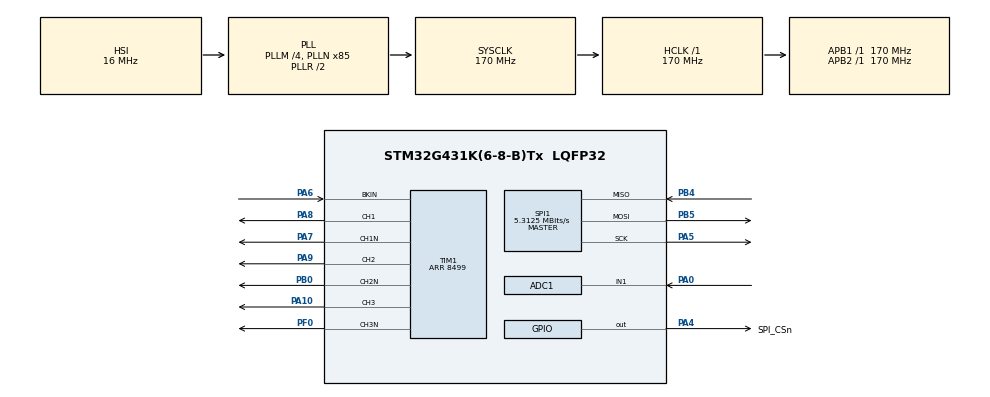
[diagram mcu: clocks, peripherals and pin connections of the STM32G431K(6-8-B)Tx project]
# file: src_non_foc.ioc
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ADC1.Channel-0\#ChannelRegularConversion=ADC_CHANNEL_1
ADC1.NbrOfConversionFlag=1
ADC1.OffsetNumber-0\#ChannelRegularConversion=ADC_OFFSET_NONE
ADC1.Rank-0\#ChannelRegularConversion=1
ADC1.SamplingTime-0\#ChannelRegularConversion=ADC_SAMPLETIME_2CYCLES_5
ADC1.master=1
Mcu.Family=STM32G4
Mcu.Name=STM32G431K(6-8-B)Tx
Mcu.Package=LQFP32
NUCLEO-G431KB.LD2=true
NUCLEO-G431KB.VCP=true
NVIC.PriorityGroup=NVIC_PRIORITYGROUP_4
PA0.Mode=IN1-Single-Ended
PA0.Signal=ADC1_IN1
PA10.Signal=S_TIM1_CH3
PA13.GPIO_Label=T_SWDIO
PA13.Signal=SYS_JTMS-SWDIO
PA14.GPIO_Label=T_SWCLK
PA14.Signal=SYS_JTCK-SWCLK
PA2.Signal=USART2_TX
PA3.Signal=USART2_RX
PA4.GPIO_Label=SPI_CSn
PA4.PinState=GPIO_PIN_SET
PA4.Signal=GPIO_Output
PA5.Mode=Full_Duplex_Master
PA5.Signal=SPI1_SCK
PA6.Mode=Activate-Break-Input
PA6.Signal=TIM1_BKIN
PA7.Mode=PWM Generation1 CH1 CH1N
PA7.Signal=TIM1_CH1N
PA8.Signal=S_TIM1_CH1
PA9.Signal=S_TIM1_CH2
PB0.Mode=PWM Generation2 CH2 CH2N
PB0.Signal=TIM1_CH2N
PB3.GPIO_Label=T_SWO
PB3.Signal=SYS_JTDO-SWO
PB4.Mode=Full_Duplex_Master
PB4.Signal=SPI1_MISO
PB5.Mode=Full_Duplex_Master
PB5.Signal=SPI1_MOSI
PF0-OSC_IN.Mode=PWM Generation3 CH3 CH3N
PF0-OSC_IN.Signal=TIM1_CH3N
ProjectManager.HeapSize=0x200
ProjectManager.StackSize=0x400
ProjectManager.TargetToolchain=STM32CubeIDE
RCC.ADC12Freq_Value=170000000
RCC.AHBFreq_Value=170000000
RCC.APB1Freq_Value=170000000
RCC.APB1TimFreq_Value=170000000
RCC.APB2Freq_Value=170000000
RCC.APB2TimFreq_Value=170000000
RCC.CortexFreq_Value=170000000
RCC.EXTERNAL_CLOCK_VALUE=12288000
RCC.HCLKFreq_Value=170000000
RCC.HSE_VALUE=8000000
RCC.HSI48_VALUE=48000000
RCC.HSI_VALUE=16000000
RCC.LSE_VALUE=32768
RCC.PLLM=RCC_PLLM_DIV4
RCC.PLLN=85
RCC.SYSCLKFreq_VALUE=170000000
RCC.SYSCLKSource=RCC_SYSCLKSOURCE_PLLCLK
RCC.USBFreq_Value=170000000
RCC.VCOOutputFreq_Value=340000000
SH.S_TIM1_CH1.0=TIM1_CH1,PWM Generation1 CH1 CH1N
SH.S_TIM1_CH2.0=TIM1_CH2,PWM Generation2 CH2 CH2N
SH.S_TIM1_CH3.0=TIM1_CH3,PWM Generation3 CH3 CH3N
SPI1.BaudRatePrescaler=SPI_BAUDRATEPRESCALER_32
SPI1.CLKPhase=SPI_PHASE_2EDGE
SPI1.CalculateBaudRate=5.3125 MBits/s
SPI1.DataSize=SPI_DATASIZE_16BIT
SPI1.Direction=SPI_DIRECTION_2LINES
SPI1.Mode=SPI_MODE_MASTER
SPI1.VirtualType=VM_MASTER
TIM1.AutomaticOutput=TIM_AUTOMATICOUTPUT_ENABLE
TIM1.Channel-PWM\ Generation1\ CH1\ CH1N=TIM_CHANNEL_1
TIM1.Channel-PWM\ Generation2\ CH2\ CH2N=TIM_CHANNEL_2
TIM1.Channel-PWM\ Generation3\ CH3\ CH3N=TIM_CHANNEL_3
TIM1.CounterMode=TIM_COUNTERMODE_CENTERALIGNED1
TIM1.DeadTime=100
TIM1.OffStateIDLEMode=TIM_OSSI_ENABLE
TIM1.OffStateRunMode=TIM_OSSR_ENABLE
TIM1.PeriodNoDither=8499
TIM1.RepetitionCounter=1
VP_NUCLEO-G431KB_VS_BSP_COMMON.Mode=COMMON
VP_SYS_VS_DBSignals.Mode=DisableDeadBatterySignals
VP_TIM1_VS_ClockSourceINT.Mode=Internal
board=NUCLEO-G431KB

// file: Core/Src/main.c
/* USER CODE BEGIN Header */
/**
  ******************************************************************************
  * @file           : main.c
  * @brief          : Main program body
  ******************************************************************************
  * @attention
  *
  * Copyright (c) 2026 STMicroelectronics.
  * All rights reserved.
  *
  * This software is licensed under terms that can be found in the LICENSE file
  * in the root directory of this software component.
  * If no LICENSE file comes with this software, it is provided AS-IS.
  *
  ******************************************************************************
  */
/* USER CODE END Header */
#include "main.h"

/* USER CODE BEGIN Includes */

#include "as5048a.h"
#include <stdio.h>

/* USER CODE END Includes */

COM_InitTypeDef BspCOMInit;

ADC_HandleTypeDef hadc1;

SPI_HandleTypeDef hspi1;

TIM_HandleTypeDef htim1;

/* USER CODE BEGIN PV */
AS5048A_HandleTypeDef encoder1;

/* USER CODE END PV */

void SystemClock_Config(void);
static void MX_GPIO_Init(void);
static void MX_ADC1_Init(void);
static void MX_SPI1_Init(void);
static void MX_TIM1_Init(void);

int main(void)
{

  /* MCU Configuration--------------------------------------------------------*/

  /* Reset of all peripherals, Initializes the Flash interface and the Systick. */
  HAL_Init();

  /* Configure the system clock */
  SystemClock_Config();

  /* Initialize all configured peripherals */
  MX_GPIO_Init();
  MX_ADC1_Init();
  MX_SPI1_Init();
  MX_TIM1_Init();
  /* USER CODE BEGIN 2 */

  AS5048A_Init(&encoder1, &hspi1, GPIOA, GPIO_PIN_4);
  AS5048A_ClearErrorFlag(&encoder1, NULL);
  printf("AS5048A driver initialized.\r\n");

  uint32_t duty = htim1.Init.Period / 2;

  HAL_TIMEx_PWMN_Start(&htim1, TIM_CHANNEL_1);
  HAL_TIM_PWM_Start(&htim1, TIM_CHANNEL_1);
  __HAL_TIM_SET_COMPARE(&htim1, TIM_CHANNEL_1, duty);

  HAL_TIMEx_PWMN_Start(&htim1, TIM_CHANNEL_2);
  HAL_TIM_PWM_Start(&htim1, TIM_CHANNEL_2);
  __HAL_TIM_SET_COMPARE(&htim1, TIM_CHANNEL_2, duty);

  HAL_TIM_PWM_Start(&htim1, TIM_CHANNEL_3);
  HAL_TIMEx_PWMN_Start(&htim1, TIM_CHANNEL_3);
  __HAL_TIM_SET_COMPARE(&htim1, TIM_CHANNEL_3, duty);

  /* USER CODE END 2 */

  /* Initialize leds */
  BSP_LED_Init(LED_GREEN);

  /* Initialize COM1 port (115200, 8 bits (7-bit data + 1 stop bit), no parity */
  BspCOMInit.BaudRate   = 115200;
  BspCOMInit.WordLength = COM_WORDLENGTH_8B;
  BspCOMInit.StopBits   = COM_STOPBITS_1;
  BspCOMInit.Parity     = COM_PARITY_NONE;
  BspCOMInit.HwFlowCtl  = COM_HWCONTROL_NONE;
  if (BSP_COM_Init(COM1, &BspCOMInit) != BSP_ERROR_NONE)
  {
    Error_Handler();
  }

  /* Infinite loop */
  /* USER CODE BEGIN WHILE */
  while (1)
  {
	  AS5048A_AngleTypeDef angle;

	      if (AS5048A_ReadAngle(&encoder1, &angle))
	      {
	          if (!angle.parity_ok)
	          {
	              printf("AS5048A: parity error, discarding sample\r\n");
	          }
	          else
	          {
	              printf("raw=%5u  angle=%7.2f deg  err_flag=%d\r\n",
	                     angle.raw_angle, angle.angle_deg, angle.error_flag);
	          }
	      }
	      else
	      {
	          printf("AS5048A: SPI transfer failed (check wiring/CS pin)\r\n");
	      }

	      HAL_Delay(100); /* 10 Hz print rate -- plenty to eyeball on the console */
    /* USER CODE END WHILE */

  }
}

void SystemClock_Config(void)
{
  RCC_OscInitTypeDef RCC_OscInitStruct = {0};
  RCC_ClkInitTypeDef RCC_ClkInitStruct = {0};

  /** Configure the main internal regulator output voltage
  */
  HAL_PWREx_ControlVoltageScaling(PWR_REGULATOR_VOLTAGE_SCALE1_BOOST);

  /** Initializes the RCC Oscillators according to the specified parameters
  * in the RCC_OscInitTypeDef structure.
  */
  RCC_OscInitStruct.OscillatorType = RCC_OSCILLATORTYPE_HSI;
  RCC_OscInitStruct.HSIState = RCC_HSI_ON;
  RCC_OscInitStruct.HSICalibrationValue = RCC_HSICALIBRATION_DEFAULT;
  RCC_OscInitStruct.PLL.PLLState = RCC_PLL_ON;
  RCC_OscInitStruct.PLL.PLLSource = RCC_PLLSOURCE_HSI;
  RCC_OscInitStruct.PLL.PLLM = RCC_PLLM_DIV4;
  RCC_OscInitStruct.PLL.PLLN = 85;
  RCC_OscInitStruct.PLL.PLLP = RCC_PLLP_DIV2;
  RCC_OscInitStruct.PLL.PLLQ = RCC_PLLQ_DIV2;
  RCC_OscInitStruct.PLL.PLLR = RCC_PLLR_DIV2;
  if (HAL_RCC_OscConfig(&RCC_OscInitStruct) != HAL_OK)
  {
    Error_Handler();
  }

  /** Initializes the CPU, AHB and APB buses clocks
  */
  RCC_ClkInitStruct.ClockType = RCC_CLOCKTYPE_HCLK|RCC_CLOCKTYPE_SYSCLK
                              |RCC_CLOCKTYPE_PCLK1|RCC_CLOCKTYPE_PCLK2;
  RCC_ClkInitStruct.SYSCLKSource = RCC_SYSCLKSOURCE_PLLCLK;
  RCC_ClkInitStruct.AHBCLKDivider = RCC_SYSCLK_DIV1;
  RCC_ClkInitStruct.APB1CLKDivider = RCC_HCLK_DIV1;
  RCC_ClkInitStruct.APB2CLKDivider = RCC_HCLK_DIV1;

  if (HAL_RCC_ClockConfig(&RCC_ClkInitStruct, FLASH_LATENCY_4) != HAL_OK)
  {
    Error_Handler();
  }
}

static void MX_ADC1_Init(void)
{

  ADC_MultiModeTypeDef multimode = {0};
  ADC_ChannelConfTypeDef sConfig = {0};

  /** Common config
  */
  hadc1.Instance = ADC1;
  hadc1.Init.ClockPrescaler = ADC_CLOCK_SYNC_PCLK_DIV4;
  hadc1.Init.Resolution = ADC_RESOLUTION_12B;
  hadc1.Init.DataAlign = ADC_DATAALIGN_RIGHT;
  hadc1.Init.GainCompensation = 0;
  hadc1.Init.ScanConvMode = ADC_SCAN_DISABLE;
  hadc1.Init.EOCSelection = ADC_EOC_SINGLE_CONV;
  hadc1.Init.LowPowerAutoWait = DISABLE;
  hadc1.Init.ContinuousConvMode = DISABLE;
  hadc1.Init.NbrOfConversion = 1;
  hadc1.Init.DiscontinuousConvMode = DISABLE;
  hadc1.Init.ExternalTrigConv = ADC_SOFTWARE_START;
  hadc1.Init.ExternalTrigConvEdge = ADC_EXTERNALTRIGCONVEDGE_NONE;
  hadc1.Init.DMAContinuousRequests = DISABLE;
  hadc1.Init.Overrun = ADC_OVR_DATA_PRESERVED;
  hadc1.Init.OversamplingMode = DISABLE;
  if (HAL_ADC_Init(&hadc1) != HAL_OK)
  {
    Error_Handler();
  }

  /** Configure the ADC multi-mode
  */
  multimode.Mode = ADC_MODE_INDEPENDENT;
  if (HAL_ADCEx_MultiModeConfigChannel(&hadc1, &multimode) != HAL_OK)
  {
    Error_Handler();
  }

  /** Configure Regular Channel
  */
  sConfig.Channel = ADC_CHANNEL_1;
  sConfig.Rank = ADC_REGULAR_RANK_1;
  sConfig.SamplingTime = ADC_SAMPLETIME_2CYCLES_5;
  sConfig.SingleDiff = ADC_SINGLE_ENDED;
  sConfig.OffsetNumber = ADC_OFFSET_NONE;
  sConfig.Offset = 0;
  if (HAL_ADC_ConfigChannel(&hadc1, &sConfig) != HAL_OK)
  {
    Error_Handler();
  }

}

static void MX_SPI1_Init(void)
{

  /* SPI1 parameter configuration*/
  hspi1.Instance = SPI1;
  hspi1.Init.Mode = SPI_MODE_MASTER;
  hspi1.Init.Direction = SPI_DIRECTION_2LINES;
  hspi1.Init.DataSize = SPI_DATASIZE_16BIT;
  hspi1.Init.CLKPolarity = SPI_POLARITY_LOW;
  hspi1.Init.CLKPhase = SPI_PHASE_2EDGE;
  hspi1.Init.NSS = SPI_NSS_SOFT;
  hspi1.Init.BaudRatePrescaler = SPI_BAUDRATEPRESCALER_32;
  hspi1.Init.FirstBit = SPI_FIRSTBIT_MSB;
  hspi1.Init.TIMode = SPI_TIMODE_DISABLE;
  hspi1.Init.CRCCalculation = SPI_CRCCALCULATION_DISABLE;
  hspi1.Init.CRCPolynomial = 7;
  hspi1.Init.CRCLength = SPI_CRC_LENGTH_DATASIZE;
  hspi1.Init.NSSPMode = SPI_NSS_PULSE_DISABLE;
  if (HAL_SPI_Init(&hspi1) != HAL_OK)
  {
    Error_Handler();
  }

}

static void MX_TIM1_Init(void)
{

  TIM_ClockConfigTypeDef sClockSourceConfig = {0};
  TIM_MasterConfigTypeDef sMasterConfig = {0};
  TIMEx_BreakInputConfigTypeDef sBreakInputConfig = {0};
  TIM_OC_InitTypeDef sConfigOC = {0};
  TIM_BreakDeadTimeConfigTypeDef sBreakDeadTimeConfig = {0};

  htim1.Instance = TIM1;
  htim1.Init.Prescaler = 0;
  htim1.Init.CounterMode = TIM_COUNTERMODE_CENTERALIGNED1;
  htim1.Init.Period = 8499;
  htim1.Init.ClockDivision = TIM_CLOCKDIVISION_DIV1;
  htim1.Init.RepetitionCounter = 1;
  htim1.Init.AutoReloadPreload = TIM_AUTORELOAD_PRELOAD_DISABLE;
  if (HAL_TIM_Base_Init(&htim1) != HAL_OK)
  {
    Error_Handler();
  }
  sClockSourceConfig.ClockSource = TIM_CLOCKSOURCE_INTERNAL;
  if (HAL_TIM_ConfigClockSource(&htim1, &sClockSourceConfig) != HAL_OK)
  {
    Error_Handler();
  }
  if (HAL_TIM_PWM_Init(&htim1) != HAL_OK)
  {
    Error_Handler();
  }
  sMasterConfig.MasterOutputTrigger = TIM_TRGO_RESET;
  sMasterConfig.MasterOutputTrigger2 = TIM_TRGO2_RESET;
  sMasterConfig.MasterSlaveMode = TIM_MASTERSLAVEMODE_DISABLE;
  if (HAL_TIMEx_MasterConfigSynchronization(&htim1, &sMasterConfig) != HAL_OK)
  {
    Error_Handler();
  }
  sBreakInputConfig.Source = TIM_BREAKINPUTSOURCE_BKIN;
  sBreakInputConfig.Enable = TIM_BREAKINPUTSOURCE_ENABLE;
  sBreakInputConfig.Polarity = TIM_BREAKINPUTSOURCE_POLARITY_HIGH;
  if (HAL_TIMEx_ConfigBreakInput(&htim1, TIM_BREAKINPUT_BRK, &sBreakInputConfig) != HAL_OK)
  {
    Error_Handler();
  }
  sConfigOC.OCMode = TIM_OCMODE_PWM1;
  sConfigOC.Pulse = 0;
  sConfigOC.OCPolarity = TIM_OCPOLARITY_HIGH;
  sConfigOC.OCNPolarity = TIM_OCNPOLARITY_HIGH;
  sConfigOC.OCFastMode = TIM_OCFAST_DISABLE;
  sConfigOC.OCIdleState = TIM_OCIDLESTATE_RESET;
  sConfigOC.OCNIdleState = TIM_OCNIDLESTATE_RESET;
  if (HAL_TIM_PWM_ConfigChannel(&htim1, &sConfigOC, TIM_CHANNEL_1) != HAL_OK)
  {
    Error_Handler();
  }
  if (HAL_TIM_PWM_ConfigChannel(&htim1, &sConfigOC, TIM_CHANNEL_2) != HAL_OK)
  {
    Error_Handler();
  }
  if (HAL_TIM_PWM_ConfigChannel(&htim1, &sConfigOC, TIM_CHANNEL_3) != HAL_OK)
  {
    Error_Handler();
  }
  sBreakDeadTimeConfig.OffStateRunMode = TIM_OSSR_ENABLE;
  sBreakDeadTimeConfig.OffStateIDLEMode = TIM_OSSI_ENABLE;
  sBreakDeadTimeConfig.LockLevel = TIM_LOCKLEVEL_OFF;
  sBreakDeadTimeConfig.DeadTime = 100;
  sBreakDeadTimeConfig.BreakState = TIM_BREAK_ENABLE;
  sBreakDeadTimeConfig.BreakPolarity = TIM_BREAKPOLARITY_HIGH;
  sBreakDeadTimeConfig.BreakFilter = 0;
  sBreakDeadTimeConfig.BreakAFMode = TIM_BREAK_AFMODE_INPUT;
  sBreakDeadTimeConfig.Break2State = TIM_BREAK2_DISABLE;
  sBreakDeadTimeConfig.Break2Polarity = TIM_BREAK2POLARITY_HIGH;
  sBreakDeadTimeConfig.Break2Filter = 0;
  sBreakDeadTimeConfig.Break2AFMode = TIM_BREAK_AFMODE_INPUT;
  sBreakDeadTimeConfig.AutomaticOutput = TIM_AUTOMATICOUTPUT_ENABLE;
  if (HAL_TIMEx_ConfigBreakDeadTime(&htim1, &sBreakDeadTimeConfig) != HAL_OK)
  {
    Error_Handler();
  }
  HAL_TIM_MspPostInit(&htim1);

}

static void MX_GPIO_Init(void)
{
  GPIO_InitTypeDef GPIO_InitStruct = {0};

  /* GPIO Ports Clock Enable */
  __HAL_RCC_GPIOF_CLK_ENABLE();
  __HAL_RCC_GPIOA_CLK_ENABLE();
  __HAL_RCC_GPIOB_CLK_ENABLE();

  /*Configure GPIO pin Output Level */
  HAL_GPIO_WritePin(SPI_CSn_GPIO_Port, SPI_CSn_Pin, GPIO_PIN_SET);

  /*Configure GPIO pin : SPI_CSn_Pin */
  GPIO_InitStruct.Pin = SPI_CSn_Pin;
  GPIO_InitStruct.Mode = GPIO_MODE_OUTPUT_PP;
  GPIO_InitStruct.Pull = GPIO_NOPULL;
  GPIO_InitStruct.Speed = GPIO_SPEED_FREQ_LOW;
  HAL_GPIO_Init(SPI_CSn_GPIO_Port, &GPIO_InitStruct);

}

/* USER CODE BEGIN Header */
/**
  ******************************************************************************
  * @file           : main.c
  * @brief          : Main program body
  ******************************************************************************
  * @attention
  *
  * Copyright (c) 2026 STMicroelectronics.
  * All rights reserved.
  *
  * This software is licensed under terms that can be found in the LICENSE file
  * in the root directory of this software component.
  * If no LICENSE file comes with this software, it is provided AS-IS.
  *
  ******************************************************************************
  */
/* USER CODE END Header */

void Error_Handler(void)
{
  __disable_irq();
  while (1)
  {
  }
}
